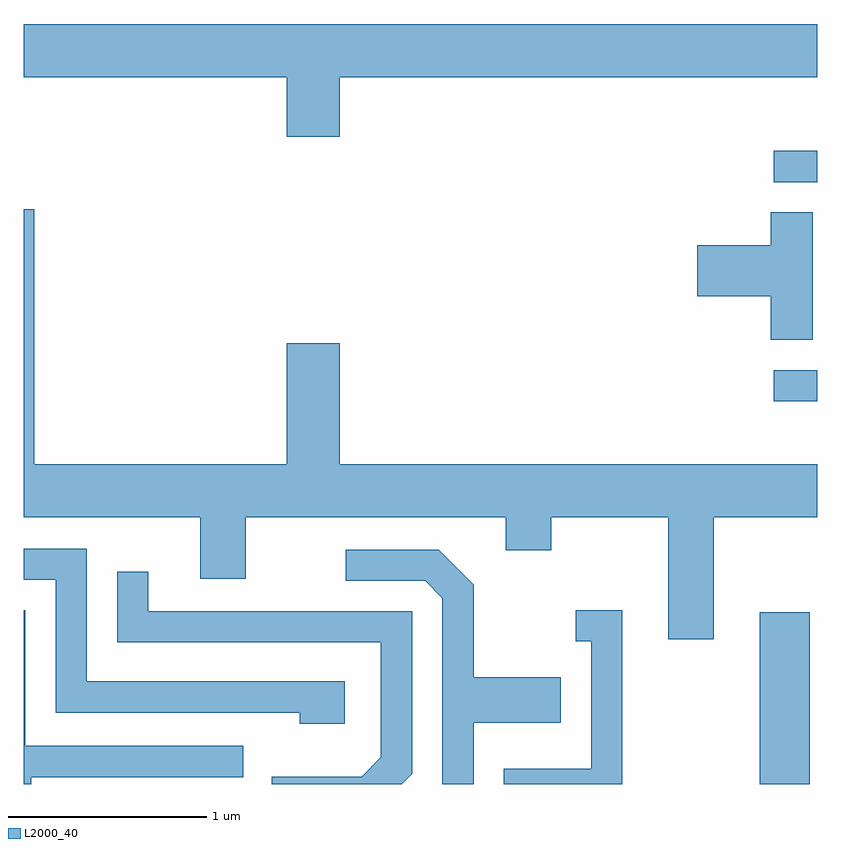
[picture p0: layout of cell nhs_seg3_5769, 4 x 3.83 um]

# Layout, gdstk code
import gdstk
lib = gdstk.Library(unit=1e-6, precision=1e-09)
def R(c, l, rs):  # rectangles x0, y0, x1, y1
    for r in rs: c.add(gdstk.rectangle(r[:2], r[2:], *l))
def P(c, l, *ps):  # polygons
    for p in ps: c.add(gdstk.Polygon(p, *l))
L2000_40 = (2000, 40)

nhs_seg3_5769 = lib.new_cell('nhs_seg3_5769')
R(nhs_seg3_5769, L2000_40, [(357.321,1237.892,357.574,1238.759), (357.393,1239.821,357.611,1239.979), (357.393,1240.926,357.611,1241.084)])
P(nhs_seg3_5769, L2000_40, [(355.204,1241.456),(357.611,1241.456),(357.611,1241.724),(353.611,1241.724),(353.611,1241.456),(354.936,1241.456),(354.936,1241.156),(355.204,1241.156)],
  [(357.089,1239.236),(357.611,1239.236),(357.611,1239.504),(355.204,1239.504),(355.204,1240.114),(354.936,1240.114),(354.936,1239.504),(353.664,1239.504),(353.664,1240.789),(353.611,1240.789),(353.611,1239.236),(354.501,1239.236),(354.501,1238.926),(354.729,1238.926),(354.729,1239.236),(356.041,1239.236),(356.041,1239.071),(356.269,1239.071),(356.269,1239.236),(356.861,1239.236),(356.861,1238.621),(357.089,1238.621)],
  [(357.589,1240.774),(357.376,1240.774),(357.376,1240.609),(357.006,1240.609),(357.006,1240.351),(357.376,1240.351),(357.376,1240.131),(357.589,1240.131)],
  [(355.229,1238.409),(353.929,1238.409),(353.929,1239.079),(353.611,1239.079),(353.611,1238.921),(353.771,1238.921),(353.771,1238.251),(355.001,1238.251),(355.001,1238.196),(355.229,1238.196)],
  [(355.879,1238.201),(356.319,1238.201),(356.319,1238.429),(355.879,1238.429),(355.879,1238.897),(355.702,1239.074),(355.233,1239.074),(355.233,1238.916),(355.634,1238.916),(355.721,1238.829),(355.721,1237.892),(355.879,1237.892)],
  [(355.569,1237.944),(355.569,1238.764),(354.239,1238.764),(354.239,1238.963),(354.081,1238.963),(354.081,1238.606),(355.411,1238.606),(355.411,1238.027),(355.314,1237.929),(354.861,1237.929),(354.861,1237.892),(355.517,1237.892)],
  [(356.629,1238.769),(356.393,1238.769),(356.393,1238.611),(356.471,1238.611),(356.471,1237.969),(356.031,1237.969),(356.031,1237.892),(356.629,1237.892)],
  [(353.649,1237.926),(354.718,1237.926),(354.718,1238.084),(353.619,1238.084),(353.619,1238.769),(353.611,1238.769),(353.611,1237.892),(353.649,1237.892)])

lib.write_gds('nhs_seg3_5769.gds')
